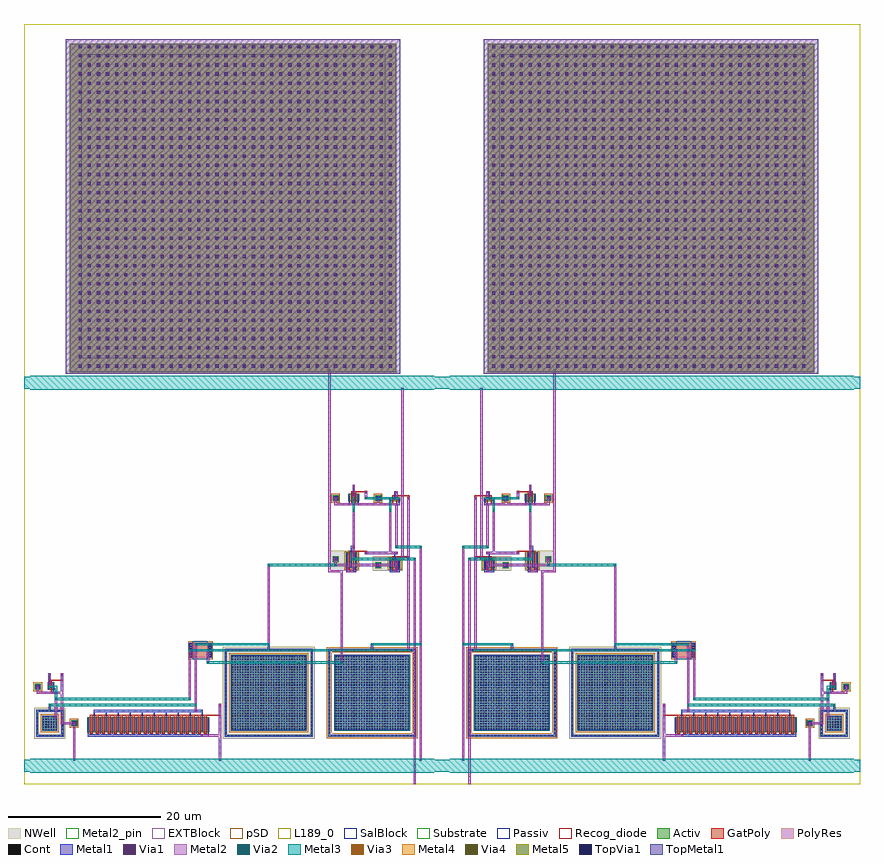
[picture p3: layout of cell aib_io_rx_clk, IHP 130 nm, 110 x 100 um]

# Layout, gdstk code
from math import pi, radians
import gdstk
lib = gdstk.Library(unit=1e-6, precision=1e-09)
def R(c, l, rs):  # rectangles x0, y0, x1, y1
    for r in rs: c.add(gdstk.rectangle(r[:2], r[2:], *l))
def A(c, l, x, y, w, h, nx, ny, dx, dy):  # array of equal rectangles
    R(c, l, [(x+i*dx, y+j*dy, x+i*dx+w, y+j*dy+h) for i in range(nx) for j in range(ny)])
Activ = (1, 0)
GatPoly = (5, 0)
Cont = (6, 0)
Metal1 = (8, 0)
Passiv = (9, 0)
Metal2 = (10, 0)
Metal2_pin = (10, 2)
pSD = (14, 0)
Via1 = (19, 0)
SalBlock = (28, 0)
Via2 = (29, 0)
Metal3 = (30, 0)
NWell = (31, 0)
Substrate = (40, 0)
Via3 = (49, 0)
Metal4 = (50, 0)
Via4 = (66, 0)
Metal5 = (67, 0)
Recog_diode = (99, 31)
EXTBlock = (111, 0)
TopVia1 = (125, 0)
TopMetal1 = (126, 0)
PolyRes = (128, 0)
L189_0 = (189, 0)

aib_io_rx = lib.new_cell('aib_io_rx')
R(aib_io_rx, Activ, [(3.4,6.2,15,6.5), (17,6.2,28.6,6.5), (49.8,6.2,53.4,6.5), (3.4,6.5,3.7,17.5), (14.7,6.5,15,17.5), (17,6.5,17.3,17.5), (28.3,6.5,28.6,17.5), (49.8,6.5,50.1,9.5), (53.1,6.5,53.4,9.5), (30.6,6.8,46.7,8.8), (4.2,7,14.2,17), (17.8,7,27.8,17), (50.6,7,52.6,9), (48.01,7.61,48.79,8.39), (49.8,9.5,53.4,9.8), (51,12.4,51.87,13.4), (52.81,12.41,53.59,13.19), (3.4,17.5,15,17.8), (17,17.5,28.6,17.8), (5.5,28.4,6.94,29.65), (11.21,28.4,12.65,30.4), (8.01,28.41,8.79,29.19), (13.61,29.21,14.39,29.99), (5.5,37.2,6.94,37.7), (10.9,37.2,12.34,38.2), (8.01,37.21,8.79,37.99), (13.61,37.21,14.39,37.99)])
A(aib_io_rx, GatPoly, 30.97, 6.62, 0.35, 2.49, 20, 1, 0.79, 0)
R(aib_io_rx, GatPoly, [(29.135,8.98,30.971,9.11), (30.97,8.98,46.33,9.11), (29.03,9.045,29.37,10.4), (29.03,10.23,29.37,10.57), (51.37,12.22,51.5,13.71), (49.935,13.58,51.371,13.71), (51.37,13.58,51.5,13.71), (49.83,13.645,50.17,14.4), (49.83,14.23,50.17,14.57), (30.37,16.6,33.23,18.6), (5.87,28.22,6,29.96), (6.44,28.22,6.57,29.96), (11.58,28.22,11.71,30.71), (12.15,28.22,12.28,30.71), (4.23,29.43,4.57,29.77), (4.23,29.6,4.57,29.895), (4.335,29.83,5.871,29.96), (5.87,29.83,6.57,29.96), (9.83,30.23,10.17,30.57), (9.83,30.4,10.17,30.645), (9.935,30.58,11.581,30.71), (11.58,30.58,12.28,30.71), (5.87,37.02,6,38.01), (6.44,37.02,6.57,38.01), (11.27,37.02,11.4,38.51), (11.84,37.02,11.97,38.51), (4.23,37.43,4.57,37.77), (4.23,37.6,4.57,37.945), (4.335,37.88,5.871,38.01), (5.87,37.88,6.57,38.01), (9.83,38.23,10.17,38.57), (9.935,38.38,11.271,38.51), (11.27,38.38,11.97,38.51), (9.83,38.4,10.17,38.445)])
A(aib_io_rx, Cont, 3.47, 6.27, 0.16, 0.16, 23, 2, 0.5, 11.3)
A(aib_io_rx, Cont, 17.07, 6.27, 0.16, 0.16, 23, 2, 0.5, 11.3)
A(aib_io_rx, Cont, 49.87, 6.27, 0.16, 0.16, 7, 2, 0.5, 3.3)
A(aib_io_rx, Cont, 3.47, 6.61, 0.16, 0.16, 1, 22, 0, 0.5)
A(aib_io_rx, Cont, 14.77, 6.61, 0.16, 0.16, 1, 22, 0, 0.5)
A(aib_io_rx, Cont, 17.07, 6.61, 0.16, 0.16, 1, 22, 0, 0.5)
A(aib_io_rx, Cont, 28.37, 6.61, 0.16, 0.16, 1, 22, 0, 0.5)
A(aib_io_rx, Cont, 49.87, 6.61, 0.16, 0.16, 1, 6, 0, 0.5)
A(aib_io_rx, Cont, 53.17, 6.61, 0.16, 0.16, 1, 6, 0, 0.5)
A(aib_io_rx, Cont, 30.67, 6.87, 0.16, 0.16, 21, 6, 0.79, 0.34)
A(aib_io_rx, Cont, 50.67, 7.07, 0.16, 0.16, 6, 6, 0.34, 0.34)
A(aib_io_rx, Cont, 4.36, 7.16, 0.16, 0.16, 29, 29, 0.34, 0.34)
A(aib_io_rx, Cont, 17.96, 7.16, 0.16, 0.16, 29, 29, 0.34, 0.34)
A(aib_io_rx, Cont, 51.07, 12.48, 0.16, 0.16, 1, 3, 0, 0.34)
A(aib_io_rx, Cont, 51.64, 12.48, 0.16, 0.16, 1, 3, 0, 0.34)
A(aib_io_rx, Cont, 30.44, 16.67, 0.16, 0.16, 1, 6, 0, 0.34)
A(aib_io_rx, Cont, 33, 16.67, 0.16, 0.16, 1, 6, 0, 0.34)
A(aib_io_rx, Cont, 11.28, 28.47, 0.16, 0.16, 3, 6, 0.57, 0.34)
A(aib_io_rx, Cont, 5.57, 28.605, 0.16, 0.16, 3, 3, 0.57, 0.34)
A(aib_io_rx, Cont, 10.97, 37.28, 0.16, 0.16, 3, 3, 0.57, 0.34)
A(aib_io_rx, Cont, 5.57, 37.37, 0.16, 0.16, 3, 1, 0.57, 0)
R(aib_io_rx, Cont, [(48.15,7.75,48.31,7.91), (48.49,7.75,48.65,7.91), (48.15,8.09,48.31,8.25), (48.49,8.09,48.65,8.25), (29.12,10.32,29.28,10.48), (52.95,12.55,53.11,12.71), (53.29,12.55,53.45,12.71), (52.95,12.89,53.11,13.05), (53.29,12.89,53.45,13.05), (49.92,14.32,50.08,14.48), (8.15,28.55,8.31,28.71), (8.49,28.55,8.65,28.71), (8.15,28.89,8.31,29.05), (8.49,28.89,8.65,29.05), (13.75,29.35,13.91,29.51), (14.09,29.35,14.25,29.51), (4.32,29.52,4.48,29.68), (13.75,29.69,13.91,29.85), (14.09,29.69,14.25,29.85), (9.92,30.32,10.08,30.48), (8.15,37.35,8.31,37.51), (8.49,37.35,8.65,37.51), (13.75,37.35,13.91,37.51), (14.09,37.35,14.25,37.51), (4.32,37.52,4.48,37.68), (8.15,37.69,8.31,37.85), (8.49,37.69,8.65,37.85), (13.75,37.69,13.91,37.85), (14.09,37.69,14.25,37.85), (9.92,38.32,10.08,38.48)])
A(aib_io_rx, Metal1, 30.67, 6.25, 0.16, 2.48, 11, 1, 1.58, 0)
A(aib_io_rx, Metal1, 31.46, 6.87, 0.16, 2.88, 10, 1, 1.58, 0)
R(aib_io_rx, Metal1, [(3.4,6.2,15,6.5), (17,6.2,28.6,6.5), (49.8,6.2,53.4,6.5), (30.67,6.25,46.63,6.55), (3.4,6.5,3.7,17.5), (14.7,6.5,15,17.5), (17,6.5,17.3,17.5), (28.3,6.5,28.6,17.5), (49.8,6.5,50.1,9.5), (53.1,6.5,53.4,9.5), (50.6,7,52.6,9), (4.29,7.09,14.11,16.91), (17.89,7.09,27.71,16.91), (48.15,7.75,48.65,8.25), (31.46,9.45,45.84,9.75), (49.8,9.5,53.4,9.8), (51.45,9.5,51.75,10.55), (29.05,10.25,29.35,10.55), (50.65,11.85,51.23,12.15), (51.07,11.85,51.23,13.32), (51.64,12.48,51.8,14.55), (52.95,12.55,53.45,13.05), (49.85,14.25,50.15,14.55), (51.45,14.25,51.8,14.55), (30.29,16.6,30.75,18.6), (32.85,16.6,33.31,18.6), (30.29,17.45,30.95,17.75), (32.85,17.45,33.35,17.75), (3.4,17.5,15,17.8), (9.05,17.5,9.35,18.55), (17,17.5,28.6,17.8), (22.65,17.5,22.95,18.55), (5.57,27.85,5.73,29.445), (5.57,27.85,6.87,28.15), (6.71,27.85,6.87,29.445), (11.28,27.85,11.44,30.33), (11.28,27.85,12.58,28.15), (12.42,27.85,12.58,30.33), (11.85,28.47,12.01,31.35), (8.15,28.55,8.65,29.05), (6.14,28.605,6.3,30.55), (13.75,29.35,14.25,29.85), (4.25,29.45,4.55,29.75), (5.85,30.25,6.3,30.55), (9.85,30.25,10.15,30.55), (11.45,31.05,12.01,31.35), (5.57,36.65,6.87,36.95), (5.57,36.65,5.73,37.53), (6.71,36.65,6.87,37.53), (10.97,36.65,11.13,38.12), (10.97,36.65,12.27,36.95), (12.11,36.65,12.27,38.12), (11.54,37.28,11.7,39.35), (8.15,37.35,8.65,37.85), (13.75,37.35,14.25,37.85), (6.14,37.37,6.3,38.55), (4.25,37.45,4.55,37.75), (5.85,38.25,6.3,38.55), (9.85,38.25,10.15,38.55), (11.45,39.05,11.75,39.35)])
R(aib_io_rx, Passiv, [(7.5,56,47.5,96)])
A(aib_io_rx, Metal2, 3.45, 1.45, 0.3, 1.1, 1, 20, 0, 0.8)
A(aib_io_rx, Metal2, 2.65, 3.05, 0.3, 1.1, 1, 18, 0, 0.8)
A(aib_io_rx, Metal2, 29.05, 3.05, 0.3, 1.1, 1, 9, 0, 0.8)
A(aib_io_rx, Metal2, 48.25, 3.05, 0.3, 1.1, 1, 6, 0, 0.8)
A(aib_io_rx, Metal2, 29.05, 6.25, 1.1, 0.3, 3, 1, 0.8, 0)
A(aib_io_rx, Metal2, 49.85, 7.85, 0.3, 1.1, 1, 8, 0, 0.8)
A(aib_io_rx, Metal2, 50.65, 8.65, 0.3, 1.1, 1, 3, 0, 0.8)
A(aib_io_rx, Metal2, 32.25, 9.45, 0.3, 1.1, 1, 11, 0, 0.8)
A(aib_io_rx, Metal2, 33.05, 11.05, 0.3, 1.1, 1, 8, 0, 0.8)
A(aib_io_rx, Metal2, 49.85, 11.85, 1.1, 0.3, 4, 1, 0.8, 0)
A(aib_io_rx, Metal2, 13.05, 15.85, 0.3, 1.1, 1, 15, 0, 0.8)
A(aib_io_rx, Metal2, 2.65, 17.45, 0.3, 1.1, 3, 15, 0.8, 0.8)
A(aib_io_rx, Metal2, 22.65, 18.25, 0.3, 1.1, 1, 13, 0, 0.8)
A(aib_io_rx, Metal2, 11.45, 27.85, 0.3, 0.3, 1, 3, 0, 1.6)
A(aib_io_rx, Metal2, 14.65, 27.85, 0.3, 1.1, 1, 33, 0, 0.8)
A(aib_io_rx, Metal2, 5.85, 28.65, 1.1, 0.3, 10, 2, 0.8, 8)
A(aib_io_rx, Metal2, 11.45, 29.45, 0.3, 1.1, 1, 8, 0, 0.8)
A(aib_io_rx, Metal2, 5.85, 30.25, 1.1, 0.3, 5, 1, 0.8, 0)
A(aib_io_rx, Metal2, 4.25, 31.05, 0.3, 1.1, 4, 6, 0.8, 0.8)
A(aib_io_rx, Metal2, 4.25, 35.85, 0.3, 1.1, 3, 1, 0.8, 0)
A(aib_io_rx, Metal2, 5.05, 36.65, 0.3, 1.1, 1, 19, 0, 0.8)
A(aib_io_rx, Metal2, 5.85, 36.65, 0.3, 0.3, 1, 3, 0, 0.8)
A(aib_io_rx, Metal2, 8.25, 37.45, 0.3, 0.3, 3, 1, 1.6, 0)
R(aib_io_rx, Metal2, [(3.45,0,3.75,4.15), (2.65,3.05,2.95,3.35), (29.05,3.05,29.35,3.35), (48.25,3.05,48.55,3.35), (31.45,6.25,31.75,6.55), (48.25,7.85,48.55,8.15), (48.25,7.85,49.35,8.15), (49.05,7.85,50.15,8.15), (50.65,8.65,50.95,8.95), (32.25,9.45,32.55,9.75), (29.05,10.25,29.35,10.55), (32.25,10.25,32.55,10.55), (51.45,10.25,51.75,10.55), (51.45,10.25,51.75,10.55), (33.05,11.05,33.35,11.35), (50.65,11.05,50.95,11.35), (50.65,11.85,50.95,12.15), (53.05,11.85,53.35,12.95), (51.45,12.65,51.75,13.75), (51.45,12.65,51.75,12.95), (53.05,12.65,53.35,12.95), (51.45,13.45,51.75,14.55), (49.85,14.25,50.15,14.55), (51.45,14.25,51.75,14.55), (13.05,15.85,13.35,16.15), (13.05,15.85,13.35,16.15), (18.65,15.85,18.95,16.15), (18.65,15.85,18.95,16.15), (30.65,15.85,30.95,16.95), (30.65,15.85,30.95,16.15), (30.65,16.65,30.95,17.75), (4.25,17.45,4.55,17.75), (30.65,17.45,30.95,17.75), (33.05,17.45,33.35,17.75), (33.05,17.45,33.35,17.75), (2.65,18.25,2.95,18.55), (9.05,18.25,9.35,18.55), (9.05,18.25,9.35,18.55), (22.65,18.25,22.95,18.55), (22.65,18.25,22.95,18.55), (32.25,18.25,32.55,18.55), (5.85,27.85,6.15,28.95), (5.85,27.85,6.15,28.15), (11.45,27.85,11.75,28.95), (11.45,27.85,12.55,28.15), (12.25,27.85,12.55,28.95), (13.05,27.85,14.15,28.15), (13.85,27.85,14.95,28.15), (5.85,28.65,6.15,29.75), (8.25,28.65,8.55,28.95), (13.85,28.65,14.15,29.75), (13.85,28.65,14.15,28.95), (22.65,28.65,22.95,28.95), (2.65,29.45,2.95,30.55), (3.45,29.45,3.75,29.75), (4.25,29.45,4.55,30.55), (4.25,29.45,4.55,29.75), (5.05,29.45,5.35,30.55), (5.05,29.45,6.15,29.75), (13.85,29.45,14.15,29.75), (2.65,30.25,2.95,31.35), (4.25,30.25,4.55,31.35), (5.05,30.25,5.35,31.35), (5.85,30.25,6.15,30.55), (6.65,30.25,6.95,31.35), (9.85,30.25,10.15,30.55), (2.65,31.05,2.95,31.35), (5.85,31.05,6.15,31.35), (6.65,35.85,6.95,36.15), (11.45,35.85,11.75,36.15), (4.25,36.65,4.55,37.75), (8.25,36.65,8.55,37.75), (11.45,36.65,11.75,36.95), (13.85,36.65,14.15,37.75), (4.25,37.45,4.55,37.75), (5.85,37.45,6.15,38.55), (9.85,37.45,10.15,38.55), (11.45,37.45,11.75,38.55), (13.85,37.45,14.15,37.75), (9.85,38.25,10.15,38.55), (11.45,38.25,11.75,39.35), (11.45,39.05,11.75,39.35), (5.05,51.85,5.35,52.15), (14.65,54.25,14.95,54.55)])
R(aib_io_rx, Metal2_pin, [(3.45,0,3.75,1)])
R(aib_io_rx, pSD, [(3.22,6.02,15.18,6.68), (3.22,6.5,3.88,17.5), (14.52,6.5,15.18,17.5), (17.62,6.82,27.98,17.18), (50.42,6.82,52.78,9.18), (47.83,7.43,48.97,8.57), (52.63,12.23,53.77,13.37), (30.19,16.42,33.41,18.78), (3.22,17.32,15.18,17.98), (5.32,28.22,7.12,29.83), (11.03,28.22,12.83,30.58), (7.83,37.03,8.97,38.17), (13.43,37.03,14.57,38.17)])
R(aib_io_rx, Via1, [(31.505,6.305,31.695,6.495), (48.305,7.905,48.495,8.095), (50.705,8.705,50.895,8.895), (32.305,9.505,32.495,9.695), (29.105,10.305,29.295,10.495), (51.505,10.305,51.695,10.495), (50.705,11.905,50.895,12.095), (53.105,12.705,53.295,12.895), (49.905,14.305,50.095,14.495), (51.505,14.305,51.695,14.495), (13.105,15.905,13.295,16.095), (18.705,15.905,18.895,16.095), (30.705,17.505,30.895,17.695), (33.105,17.505,33.295,17.695), (9.105,18.305,9.295,18.495), (22.705,18.305,22.895,18.495), (5.905,27.905,6.095,28.095), (11.505,27.905,11.695,28.095), (8.305,28.705,8.495,28.895), (4.305,29.505,4.495,29.695), (13.905,29.505,14.095,29.695), (5.905,30.305,6.095,30.495), (9.905,30.305,10.095,30.495), (11.505,31.105,11.695,31.295), (5.905,36.705,6.095,36.895), (11.505,36.705,11.695,36.895), (4.305,37.505,4.495,37.695), (8.305,37.505,8.495,37.695), (13.905,37.505,14.095,37.695), (5.905,38.305,6.095,38.495), (9.905,38.305,10.095,38.495), (11.505,39.105,11.695,39.295)])
R(aib_io_rx, SalBlock, [(30.8,16.4,32.8,18.8)])
R(aib_io_rx, Via2, [(2.705,3.105,2.895,3.295), (29.105,3.105,29.295,3.295), (48.305,3.105,48.495,3.295), (32.305,10.305,32.495,10.495), (51.505,10.305,51.695,10.495), (33.105,11.105,33.295,11.295), (50.705,11.105,50.895,11.295), (51.505,12.705,51.695,12.895), (13.105,15.905,13.295,16.095), (18.705,15.905,18.895,16.095), (30.705,15.905,30.895,16.095), (4.305,17.505,4.495,17.695), (33.105,17.505,33.295,17.695), (2.705,18.305,2.895,18.495), (9.105,18.305,9.295,18.495), (22.705,18.305,22.895,18.495), (32.305,18.305,32.495,18.495), (13.905,28.705,14.095,28.895), (22.705,28.705,22.895,28.895), (3.505,29.505,3.695,29.695), (11.505,29.505,11.695,29.695), (2.705,31.105,2.895,31.295), (5.905,31.105,6.095,31.295), (6.705,35.905,6.895,36.095), (11.505,35.905,11.695,36.095), (5.905,37.505,6.095,37.695), (9.905,37.505,10.095,37.695), (11.505,37.505,11.695,37.695), (5.105,51.905,5.295,52.095), (14.705,54.305,14.895,54.495)])
A(aib_io_rx, Metal3, 1.05, 1.45, 1.1, 0.3, 66, 3, 0.8, 0.8)
A(aib_io_rx, Metal3, 1.05, 1.45, 0.3, 1.1, 67, 2, 0.8, 0.8)
A(aib_io_rx, Metal3, 32.25, 10.25, 1.1, 0.3, 24, 1, 0.8, 0)
A(aib_io_rx, Metal3, 33.05, 11.05, 1.1, 0.3, 22, 1, 0.8, 0)
A(aib_io_rx, Metal3, 13.05, 15.85, 1.1, 0.3, 22, 1, 0.8, 0)
A(aib_io_rx, Metal3, 4.25, 17.45, 1.1, 0.3, 36, 1, 0.8, 0)
A(aib_io_rx, Metal3, 2.65, 18.25, 1.1, 0.3, 8, 1, 0.8, 0)
A(aib_io_rx, Metal3, 22.65, 18.25, 1.1, 0.3, 12, 1, 0.8, 0)
A(aib_io_rx, Metal3, 13.85, 28.65, 1.1, 0.3, 11, 1, 0.8, 0)
A(aib_io_rx, Metal3, 3.45, 29.45, 1.1, 0.3, 10, 1, 0.8, 0)
A(aib_io_rx, Metal3, 2.65, 31.05, 1.1, 0.3, 4, 1, 0.8, 0)
A(aib_io_rx, Metal3, 5.85, 37.45, 1.1, 0.3, 5, 1, 0.8, 0)
A(aib_io_rx, Metal3, 1.05, 51.85, 1.1, 0.3, 66, 3, 0.8, 0.8)
A(aib_io_rx, Metal3, 1.05, 51.85, 0.3, 1.1, 67, 2, 0.8, 0.8)
A(aib_io_rx, Metal3, 6.65, 54.25, 1.1, 0.3, 52, 1, 0.8, 0)
R(aib_io_rx, Metal3, [(0,1.6,55,3.2), (2.65,3.05,2.95,3.35), (29.05,3.05,29.35,3.35), (48.25,3.05,48.55,3.35), (32.25,10.25,32.55,10.55), (51.45,10.25,51.75,10.55), (33.05,11.05,33.35,11.35), (50.65,11.05,50.95,12.15), (50.65,11.05,50.95,11.35), (50.65,11.85,50.95,12.95), (50.65,12.65,51.75,12.95), (51.45,12.65,51.75,12.95), (13.05,15.85,13.35,16.15), (18.65,15.85,18.95,16.15), (30.65,15.85,30.95,16.15), (4.25,17.45,4.55,17.75), (33.05,17.45,33.35,17.75), (2.65,18.25,2.95,18.55), (9.05,18.25,9.35,18.55), (22.65,18.25,22.95,18.55), (32.25,18.25,32.55,18.55), (13.85,28.65,14.15,28.95), (22.65,28.65,22.95,28.95), (3.45,29.45,3.75,29.75), (11.45,29.45,11.75,29.75), (2.65,31.05,2.95,31.35), (5.85,31.05,6.15,31.35), (6.65,35.85,6.95,36.95), (6.65,35.85,6.95,36.15), (11.45,35.85,11.75,36.95), (11.45,35.85,11.75,36.15), (6.65,36.65,6.95,37.75), (11.45,36.65,11.75,37.75), (5.85,37.45,6.15,37.75), (9.85,37.45,10.15,37.75), (11.45,37.45,11.75,37.75), (5.05,51.85,5.35,52.15), (0,52,55,53.6), (6,54.2,49,97.4), (14.65,54.25,14.95,54.55)])
R(aib_io_rx, NWell, [(16.76,5.96,28.84,18.04), (49.56,5.96,53.64,10.04), (5.19,28.09,9.1,29.96), (10.9,28.09,14.7,30.71)])
R(aib_io_rx, Substrate, [(3.4,6.2,15,6.5), (3.4,6.5,3.7,17.5), (14.7,6.5,15,17.5), (48.01,7.61,48.79,8.39), (52.81,12.41,53.59,13.19), (3.4,17.5,15,17.8), (8.01,37.21,8.79,37.99), (13.61,37.21,14.39,37.99)])
A(aib_io_rx, Via3, 6.6, 54.8, 0.19, 0.19, 35, 36, 1.2, 1.2)
R(aib_io_rx, Metal4, [(6,54.2,49,97.4)])
A(aib_io_rx, Via4, 6.6, 54.8, 0.19, 0.19, 35, 36, 1.2, 1.2)
R(aib_io_rx, Metal5, [(6,54.2,49,97.4)])
R(aib_io_rx, Recog_diode, [(4.2,7,14.2,17), (17.8,7,27.8,17), (50.6,7,52.6,9)])
R(aib_io_rx, EXTBlock, [(30.19,16.42,33.41,18.78)])
A(aib_io_rx, TopVia1, 6.6, 54.8, 0.42, 0.42, 35, 36, 1.2, 1.2)
R(aib_io_rx, TopMetal1, [(5.5,54,49.5,98)])
R(aib_io_rx, PolyRes, [(30.8,16.6,32.8,18.6)])
R(aib_io_rx, L189_0, [(0,0,55,100)])
aib_io_rx.add(gdstk.Label('VSS', (1,2.4), layer=30, texttype=1))
aib_io_rx.add(gdstk.Label('VDDIO', (1,52.8), layer=30, texttype=1))
aib_io_rx.add(gdstk.Label('PAD', (27.5,76), layer=126, texttype=1))
aib_io_rx.add(gdstk.Label('sub!', (3.55,12), layer=63, texttype=0))
aib_io_rx.add(gdstk.Label('well', (17.15,12), layer=63, texttype=0))
aib_io_rx.add(gdstk.Label('sub!', (48.4,8), layer=63, texttype=0))
aib_io_rx.add(gdstk.Label('well', (49.95,8), layer=63, texttype=0))
aib_io_rx.add(gdstk.Label('sub!', (53.2,12.8), layer=63, texttype=0))
aib_io_rx.add(gdstk.Label('well', (8.4,28.8), layer=63, texttype=0))
aib_io_rx.add(gdstk.Label('well', (14,29.6), layer=63, texttype=0))
aib_io_rx.add(gdstk.Label('sub!', (8.4,37.6), layer=63, texttype=0))
aib_io_rx.add(gdstk.Label('sub!', (14,37.6), layer=63, texttype=0))
aib_io_rx.add(gdstk.Label('DOUT', (3.6,0.5), layer=10, texttype=1))

aib_io_rx_clk = lib.new_cell('aib_io_rx_clk')
R(aib_io_rx_clk, L189_0, [(0,0,110,100)])
aib_io_rx_clk.add(gdstk.Reference(aib_io_rx, (55,0), rotation=pi, x_reflection=True))
aib_io_rx_clk.add(gdstk.Reference(aib_io_rx, (55,0)))

lib.write_gds('aib_io_rx_clk.gds')
